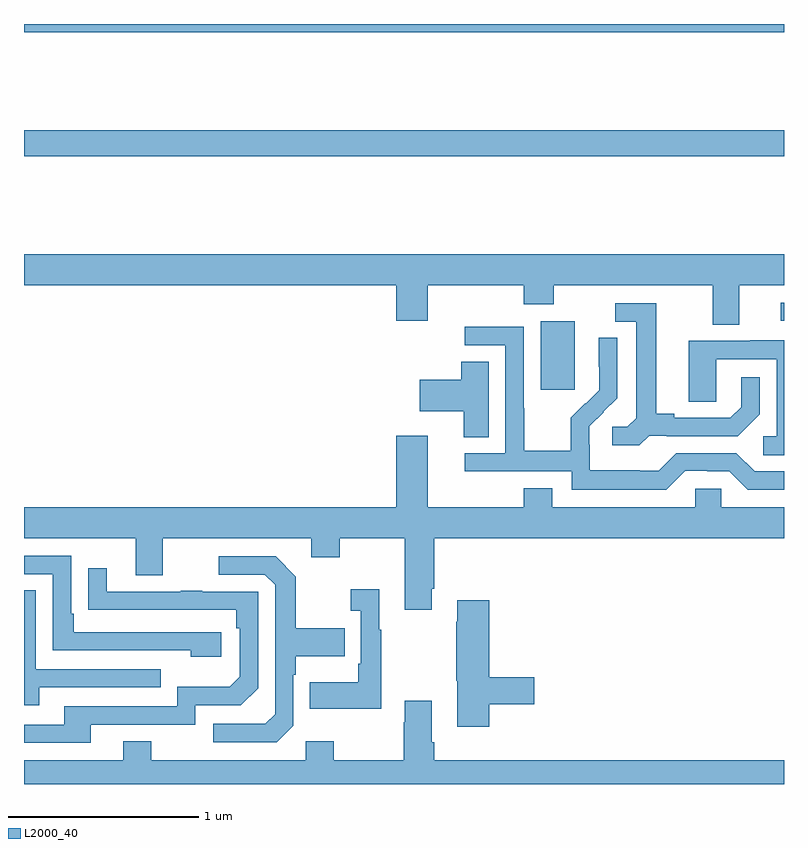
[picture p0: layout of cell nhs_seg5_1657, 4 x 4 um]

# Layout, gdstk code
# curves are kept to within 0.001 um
import gdstk
lib = gdstk.Library(unit=1e-6, precision=1e-09)
def R(c, l, rs):  # rectangles x0, y0, x1, y1
    for r in rs: c.add(gdstk.rectangle(r[:2], r[2:], *l))
def P(c, l, *ps):  # polygons
    for p in ps: c.add(gdstk.Polygon(p, *l))
L2000_40 = (2000, 40)

nhs_seg5_1657 = lib.new_cell('nhs_seg5_1657')
R(nhs_seg5_1657, L2000_40, [(213.719,858.873,213.898,859.234), (214.983,859.236,215,859.332), (211,860.104,215,860.24), (211,860.756,215,860.799)])
P(nhs_seg5_1657, L2000_40, [(214.765,859.424),(215,859.424),(215,859.588),(211,859.588),(211,859.424),(212.96,859.424),(212.96,859.236),(213.124,859.236),(213.124,859.424),(213.629,859.424),(213.629,859.325),(213.789,859.325),(213.789,859.424),(214.625,859.424),(214.625,859.216),(214.765,859.216)],
  [(214.29,858.633),(214.384,858.633),(214.384,858.63),(214.756,858.63),(214.872,858.746),(214.872,858.94),(214.775,858.94),(214.775,858.783),(214.718,858.726),(214.423,858.726),(214.423,858.749),(214.327,858.749),(214.327,859.329),(214.113,859.329),(214.113,859.233),(214.223,859.233),(214.223,858.725),(214.176,858.678),(214.095,858.678),(214.095,858.581),(214.238,858.581)],
  [(214.479,858.447),(214.595,858.447),(214.595,858.444),(214.713,858.444),(214.809,858.348),(215,858.348),(215,858.444),(214.845,858.444),(214.749,858.54),(214.434,858.54),(214.341,858.447),(214.241,858.447),(214.241,858.451),(213.978,858.451),(213.978,858.585),(213.976,858.585),(213.976,858.682),(214.122,858.83),(214.122,859.148),(214.026,859.148),(214.026,858.994),(214.028,858.994),(214.028,858.872),(213.957,858.801),(213.954,858.804),(213.877,858.727),(213.877,858.553),(213.633,858.553),(213.633,858.776),(213.63,858.776),(213.63,859.206),(213.321,859.206),(213.321,859.107),(213.534,859.107),(213.534,858.54),(213.321,858.54),(213.321,858.444),(213.882,858.444),(213.882,858.347),(214.379,858.347)],
  [(215,859.135),(214.823,859.135),(214.823,859.131),(214.499,859.131),(214.499,858.811),(214.644,858.811),(214.644,859.035),(214.962,859.035),(214.962,858.63),(214.89,858.63),(214.89,858.529),(215,858.529)],
  [(213.445,859.022),(213.302,859.022),(213.302,858.927),(213.084,858.927),(213.084,858.761),(213.314,858.761),(213.314,858.625),(213.445,858.625)],
  [(213.145,857.827),(213.158,857.827),(213.158,858.092),(215,858.092),(215,858.256),(214.671,858.256),(214.671,858.354),(214.533,858.354),(214.533,858.256),(213.781,858.256),(213.781,858.355),(213.629,858.355),(213.629,858.256),(213.124,858.256),(213.124,858.631),(212.96,858.631),(212.96,858.256),(211,858.256),(211,858.092),(211.589,858.092),(211.589,857.898),(211.729,857.898),(211.729,858.092),(212.513,858.092),(212.513,857.993),(212.661,857.993),(212.661,858.092),(213.005,858.092),(213.005,857.715),(213.145,857.715)],
  [(212.038,857.598),(211.261,857.598),(211.261,857.695),(211.248,857.695),(211.248,858),(211,858),(211,857.904),(211.152,857.904),(211.152,857.502),(211.877,857.502),(211.877,857.468),(212.038,857.468)],
  [(212.418,857.106),(212.418,857.375),(212.431,857.375),(212.431,857.471),(212.687,857.471),(212.687,857.619),(212.431,857.619),(212.431,857.891),(212.325,857.997),(212.025,857.997),(212.025,857.901),(212.268,857.901),(212.322,857.847),(212.322,857.166),(212.271,857.115),(211.995,857.115),(211.995,857.019),(212.331,857.019)],
  [(211.351,857.112),(211.902,857.112),(211.902,857.214),(212.142,857.214),(212.232,857.304),(212.232,857.811),(211.937,857.811),(211.937,857.816),(211.825,857.816),(211.825,857.811),(211.435,857.811),(211.435,857.935),(211.339,857.935),(211.339,857.716),(212.116,857.715),(212.116,857.618),(212.136,857.618),(212.136,857.364),(212.083,857.311),(211.806,857.311),(211.806,857.208),(211.211,857.208),(211.211,857.112),(211,857.112),(211,857.016),(211.351,857.016)],
  [(212.881,857.611),(212.869,857.611),(212.869,857.824),(212.721,857.824),(212.721,857.711),(212.772,857.711),(212.772,857.431),(212.76,857.431),(212.76,857.335),(212.503,857.335),(212.503,857.195),(212.881,857.195)],
  [(211.081,857.307),(211.721,857.307),(211.721,857.403),(211.062,857.403),(211.062,857.819),(211,857.819),(211,857.213),(211.081,857.213)],
  [(213.449,857.218),(213.685,857.218),(213.685,857.36),(213.449,857.36),(213.449,857.767),(213.281,857.767),(213.281,857.654),(213.274,857.654),(213.274,857.343),(213.281,857.343),(213.281,857.1),(213.449,857.1)],
  [(215,856.924),(213.158,856.924),(213.158,857.02),(213.145,857.02),(213.145,857.236),(213.005,857.236),(213.005,857.123),(212.998,857.123),(212.998,856.924),(212.631,856.924),(212.631,857.023),(212.484,857.023),(212.484,856.924),(211.671,856.924),(211.671,857.023),(211.523,857.023),(211.523,856.924),(211,856.924),(211,856.799),(215,856.799)])

lib.write_gds('nhs_seg5_1657.gds')
